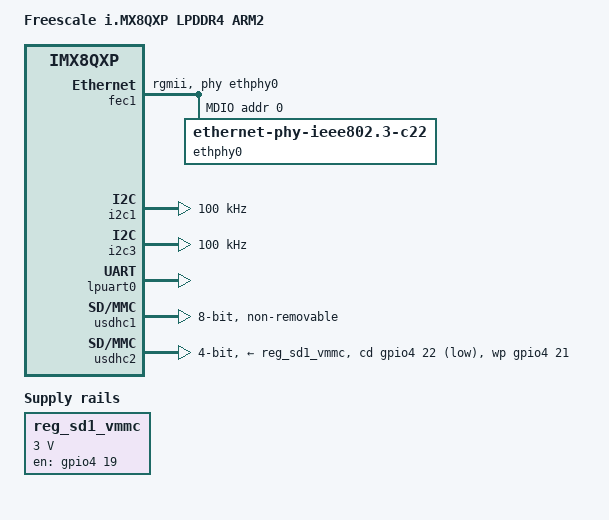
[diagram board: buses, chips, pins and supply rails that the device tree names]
/*
 * Copyright 2017 NXP
 *
 * This program is free software; you can redistribute it and/or
 * modify it under the terms of the GNU General Public License
 * as published by the Free Software Foundation; either version 2
 * of the License, or (at your option) any later version.
 *
 * This program is distributed in the hope that it will be useful,
 * but WITHOUT ANY WARRANTY; without even the implied warranty of
 * MERCHANTABILITY or FITNESS FOR A PARTICULAR PURPOSE.  See the
 * GNU General Public License for more details.
 */

/dts-v1/;

/* First 128KB is for PSCI ATF. */
/* Last 127M is for M4/RPMSG */
/memreserve/ 0x80000000 0x08000000;

#include "fsl-imx8qxp.dtsi"

/ {
	model = "Freescale i.MX8QXP LPDDR4 ARM2";
	compatible = "fsl,imx8qxp-lpddr4-arm2", "fsl,imx8qxp";

	chosen {
		bootargs = "console=ttyLP0,115200 earlycon=lpuart32,0x5a060000,115200";
		stdout-path = &lpuart0;
	};

	regulators {
		compatible = "simple-bus";
		#address-cells = <1>;
		#size-cells = <0>;

		reg_sd1_vmmc: sd1_vmmc {
			compatible = "regulator-fixed";
			regulator-name = "SD1_SPWR";
			regulator-min-microvolt = <3000000>;
			regulator-max-microvolt = <3000000>;
			gpio = <&gpio4 19 GPIO_ACTIVE_HIGH>;
			enable-active-high;
		};
	};
};

&iomuxc {
	imx8qxp-lpddr4-arm2 {

		pinctrl_fec1: fec1grp {
			fsl,pins = <
				SC_P_ENET0_MDC_CONN_ENET0_MDC			0x06000048
				SC_P_ENET0_MDIO_CONN_ENET0_MDIO			0x06000048
				SC_P_ENET0_RGMII_TX_CTL_CONN_ENET0_RGMII_TX_CTL	0x06000048
				SC_P_ENET0_RGMII_TXC_CONN_ENET0_RGMII_TXC	0x06000048
				SC_P_ENET0_RGMII_TXD0_CONN_ENET0_RGMII_TXD0	0x06000048
				SC_P_ENET0_RGMII_TXD1_CONN_ENET0_RGMII_TXD1	0x06000048
				SC_P_ENET0_RGMII_TXD2_CONN_ENET0_RGMII_TXD2	0x06000048
				SC_P_ENET0_RGMII_TXD3_CONN_ENET0_RGMII_TXD3	0x06000048
				SC_P_ENET0_RGMII_RXC_CONN_ENET0_RGMII_RXC	0x06000048
				SC_P_ENET0_RGMII_RX_CTL_CONN_ENET0_RGMII_RX_CTL	0x06000048
				SC_P_ENET0_RGMII_RXD0_CONN_ENET0_RGMII_RXD0	0x06000048
				SC_P_ENET0_RGMII_RXD1_CONN_ENET0_RGMII_RXD1	0x06000048
				SC_P_ENET0_RGMII_RXD2_CONN_ENET0_RGMII_RXD2	0x06000048
				SC_P_ENET0_RGMII_RXD3_CONN_ENET0_RGMII_RXD3	0x06000048
			>;
		};

		pinctrl_fec2: fec2grp {
			fsl,pins = <
				SC_P_ESAI0_SCKR_CONN_ENET1_RGMII_TX_CTL		0x06000048
				SC_P_ESAI0_FSR_CONN_ENET1_RGMII_TXC		0x06000048
				SC_P_ESAI0_TX4_RX1_CONN_ENET1_RGMII_TXD0	0x06000048
				SC_P_ESAI0_TX5_RX0_CONN_ENET1_RGMII_TXD1	0x06000048
				SC_P_ESAI0_FST_CONN_ENET1_RGMII_TXD2		0x06000048
				SC_P_ESAI0_SCKT_CONN_ENET1_RGMII_TXD3		0x06000048
				SC_P_ESAI0_TX0_CONN_ENET1_RGMII_RXC		0x06000048
				SC_P_SPDIF0_TX_CONN_ENET1_RGMII_RX_CTL		0x06000048
				SC_P_SPDIF0_RX_CONN_ENET1_RGMII_RXD0		0x06000048
				SC_P_ESAI0_TX3_RX2_CONN_ENET1_RGMII_RXD1	0x06000048
				SC_P_ESAI0_TX2_RX3_CONN_ENET1_RGMII_RXD2	0x06000048
				SC_P_ESAI0_TX1_CONN_ENET1_RGMII_RXD3		0x06000048
			>;
		};

		pinctrl_lpi2c1: lpi1cgrp {
			fsl,pins = <
				SC_P_USB_SS3_TC0_ADMA_I2C1_SCL	0x06000020
				SC_P_USB_SS3_TC3_ADMA_I2C1_SDA	0x06000020
			>;
		};

		pinctrl_lpi2c3: lpi2cgrp {
			fsl,pins = <
				SC_P_SPI3_CS1_ADMA_I2C3_SCL	0x06000020
				SC_P_MCLK_IN1_ADMA_I2C3_SDA	0x06000020
			>;
		};

		pinctrl_lpuart0: lpuart0grp {
			fsl,pins = <
				SC_P_UART0_RX_ADMA_UART0_RX	0x0600004c
				SC_P_UART0_TX_ADMA_UART0_TX	0x0600004c
			>;
		};

		pinctrl_usdhc1: usdhc1grp {
			fsl,pins = <
				SC_P_EMMC0_CLK_CONN_EMMC0_CLK		0x06000021
				SC_P_EMMC0_CMD_CONN_EMMC0_CMD		0x00000021
				SC_P_EMMC0_DATA0_CONN_EMMC0_DATA0	0x00000021
				SC_P_EMMC0_DATA1_CONN_EMMC0_DATA1	0x00000021
				SC_P_EMMC0_DATA2_CONN_EMMC0_DATA2	0x00000021
				SC_P_EMMC0_DATA3_CONN_EMMC0_DATA3	0x00000021
				SC_P_EMMC0_DATA4_CONN_EMMC0_DATA4	0x00000021
				SC_P_EMMC0_DATA5_CONN_EMMC0_DATA5	0x00000021
				SC_P_EMMC0_DATA6_CONN_EMMC0_DATA6	0x00000021
				SC_P_EMMC0_DATA7_CONN_EMMC0_DATA7	0x00000021
				SC_P_EMMC0_RESET_B_CONN_EMMC0_RESET_B	0x00000021
			>;
		};

		pinctrl_usdhc2_rst: usdhc2_rst_grp {
			fsl,pins = <
				SC_P_USDHC1_RESET_B_LSIO_GPIO4_IO19	0x06000048
			>;
		};

		pinctrl_usdhc2: usdhc2grp {
			fsl,pins = <
				SC_P_USDHC1_CLK_CONN_USDHC1_CLK		0x06000021
				SC_P_USDHC1_CMD_CONN_USDHC1_CMD		0x06000021
				SC_P_USDHC1_DATA0_CONN_USDHC1_DATA0	0x06000021
				SC_P_USDHC1_DATA1_CONN_USDHC1_DATA1	0x06000021
				SC_P_USDHC1_DATA2_CONN_USDHC1_DATA2	0x06000021
				SC_P_USDHC1_DATA3_CONN_USDHC1_DATA3	0x06000021
				SC_P_USDHC1_VSELECT_CONN_USDHC1_VSELECT	0x06000021
				SC_P_USDHC1_WP_LSIO_GPIO4_IO21		0x06000021
				SC_P_USDHC1_CD_B_LSIO_GPIO4_IO22	0x06000021
			>;
		};
	};
};

&fec1 {
	pinctrl-names = "default";
	pinctrl-0 = <&pinctrl_fec1>;
	phy-mode = "rgmii";
	phy-handle = <&ethphy0>;
	fsl,ar8031-phy-fixup;
	fsl,magic-packet;
	status = "okay";

	mdio {
		#address-cells = <1>;
		#size-cells = <0>;

		ethphy0: ethernet-phy@0 {
			compatible = "ethernet-phy-ieee802.3-c22";
			reg = <0>;
		};

		ethphy1: ethernet-phy@1 {
			compatible = "ethernet-phy-ieee802.3-c22";
			reg = <1>;
			status = "disabled";
		};
	};
};

&fec2 {
	pinctrl-names = "default";
	pinctrl-0 = <&pinctrl_fec2>;
	phy-mode = "rgmii";
	phy-handle = <&ethphy1>;
	fsl,ar8031-phy-fixup;
	fsl,magic-packet;
	status = "disabled";
};

&i2c1 {
	clock-frequency = <100000>;
	pinctrl-names = "default";
	pinctrl-0 = <&pinctrl_lpi2c1>;
	status = "okay";
};

&i2c3 {
	clock-frequency = <100000>;
	pinctrl-names = "default";
	pinctrl-0 = <&pinctrl_lpi2c3>;
	status = "okay";
};

&lpuart0 {
	pinctrl-names = "default";
	pinctrl-0 = <&pinctrl_lpuart0>;
	status = "okay";
};

&usdhc1 {
	pinctrl-names = "default";
	pinctrl-0 = <&pinctrl_usdhc1>;
	bus-width = <8>;
	non-removable;
	status = "okay";
};

&usdhc2 {
	pinctrl-names = "default", "state_100mhz", "state_200mhz";
	pinctrl-0 = <&pinctrl_usdhc2>, <&pinctrl_usdhc2_rst>;
	bus-width = <4>;
	cd-gpios = <&gpio4 22 GPIO_ACTIVE_LOW>;
	wp-gpios = <&gpio4 21 GPIO_ACTIVE_HIGH>;
	vmmc-supply = <&reg_sd1_vmmc>;
	status = "okay";
};
